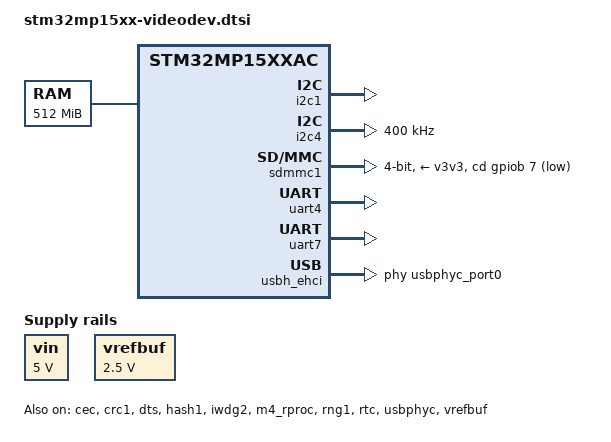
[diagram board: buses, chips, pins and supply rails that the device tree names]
// SPDX-License-Identifier: (GPL-2.0+ OR BSD-3-Clause)
/*
 * Copyright (C) STMicroelectronics 2019 - All Rights Reserved
 * Author: Alexandre Torgue <alexandre.torgue@st.com> for STMicroelectronics.
 */

#include <dt-bindings/gpio/gpio.h>
//
#include "stm32mp15xxac-pinctrl.dtsi"
#include "stm32mp15-pinctrl.dtsi"
//
#include "stm32mp15xx-videodev-pinctrl.dtsi"

/ {
	memory@c0000000 {
		device_type = "memory";
		reg = <0xc0000000 0x20000000>;
	};

	reserved-memory {
		#address-cells = <1>;
		#size-cells = <1>;
		ranges;

		mcuram2: mcuram2@10000000 {
			compatible = "shared-dma-pool";
			reg = <0x10000000 0x40000>;
			no-map;
		};

		vdev0vring0: vdev0vring0@10040000 {
			compatible = "shared-dma-pool";
			reg = <0x10040000 0x1000>;
			no-map;
		};

		vdev0vring1: vdev0vring1@10041000 {
			compatible = "shared-dma-pool";
			reg = <0x10041000 0x1000>;
			no-map;
		};

		vdev0buffer: vdev0buffer@10042000 {
			compatible = "shared-dma-pool";
			reg = <0x10042000 0x4000>;
			no-map;
		};

		mcuram: mcuram@30000000 {
			compatible = "shared-dma-pool";
			reg = <0x30000000 0x40000>;
			no-map;
		};

		retram: retram@38000000 {
			compatible = "shared-dma-pool";
			reg = <0x38000000 0x10000>;
			no-map;
		};

		gpu_reserved: gpu@d4000000 {
			reg = <0xd4000000 0x4000000>;
			no-map;
		};
	};

	vin: vin {
		compatible = "regulator-fixed";
		regulator-name = "vin";
		regulator-min-microvolt = <5000000>;
		regulator-max-microvolt = <5000000>;
		regulator-always-on;
	};
};

&adc {
	pinctrl-names = "default";
	pinctrl-0 = <&adc12_ain_pins_a>, <&adc12_usb_cc_pins_a>;
	vdd-supply = <&vdd>;
	vdda-supply = <&vdd>;
	vref-supply = <&vrefbuf>;
	status = "disabled";
	adc1: adc@0 {
		/*
		 * Type-C USB_PWR_CC1 & USB_PWR_CC2 on in18 & in19.
		 * Use at least 5 * RC time, e.g. 5 * (Rp + Rd) * C:
		 * 5 * (56 + 47kOhms) * 5pF => 2.5us.
		 * Use arbitrary margin here (e.g. 5us).
		 */
		st,min-sample-time-nsecs = <5000>;
		/* AIN connector, USB Type-C CC1 & CC2 */
		st,adc-channels = <0 1 6 13 18 19>;
		status = "okay";
	};
	adc2: adc@100 {
		/* AIN connector, USB Type-C CC1 & CC2 */
		st,adc-channels = <0 1 2 6 18 19>;
		st,min-sample-time-nsecs = <5000>;
		status = "okay";
	};
};

&cec {
	pinctrl-names = "default", "sleep";
	pinctrl-0 = <&cec_pins_b>;
	pinctrl-1 = <&cec_sleep_pins_b>;
	status = "okay";
};

&crc1 {
	status = "okay";
};

&dts {
	status = "okay";
};

&gpu {
	contiguous-area = <&gpu_reserved>;
};

&hash1 {
	status = "okay";
};

&i2c1 {
	pinctrl-names = "default", "sleep";
	pinctrl-0 = <&i2c1_pins_a>;
	pinctrl-1 = <&i2c1_sleep_pins_a>;
	i2c-scl-rising-time-ns = <100>;
	i2c-scl-falling-time-ns = <7>;
	status = "okay";
	/delete-property/dmas;
	/delete-property/dma-names;
};

&i2c2 {
	pinctrl-names = "default", "sleep";
	pinctrl-0 = <&i2c2_pins_a>;
	pinctrl-1 = <&i2c2_sleep_pins_a>;
	i2c-scl-rising-time-ns = <100>;
	i2c-scl-falling-time-ns = <7>;
	status = "disable";
	/delete-property/dmas;
	/delete-property/dma-names;
};

&i2c4 {
	pinctrl-names = "default", "sleep";
	pinctrl-0 = <&i2c4_pins_a>;
	pinctrl-1 = <&i2c4_sleep_pins_a>;
	i2c-scl-rising-time-ns = <185>;
	i2c-scl-falling-time-ns = <20>;
	clock-frequency = <400000>;
//	clock-frequency = <100000>;
	status = "okay";
	/* spare dmas for other usage */
	/delete-property/dmas;
	/delete-property/dma-names;
};

&ipcc {
	status = "okay";
};

&iwdg2 {
	timeout-sec = <32>;
	status = "okay";
};

&m4_rproc {
	memory-region = <&retram>, <&mcuram>, <&mcuram2>, <&vdev0vring0>,
			<&vdev0vring1>, <&vdev0buffer>;
	mboxes = <&ipcc 0>, <&ipcc 1>, <&ipcc 2>, <&ipcc 3>;
	mbox-names = "vq0", "vq1", "shutdown", "detach";
	interrupt-parent = <&exti>;
	interrupts = <68 1>;
	status = "okay";
};

&pwr_regulators {
	vdd-supply = <&vdd>;
	vdd_3v3_usbfs-supply = <&vdd_usb>;
};

&rng1 {
	status = "okay";
};

&rtc {
	status = "okay";
};

//fen+
&sdmmc1 {
	pinctrl-names = "default", "opendrain", "sleep";
	pinctrl-0 = <&sdmmc1_b4_pins_a>;
	pinctrl-1 = <&sdmmc1_b4_od_pins_a>;
	pinctrl-2 = <&sdmmc1_b4_sleep_pins_a>;
	cd-gpios = <&gpiob 7 (GPIO_ACTIVE_LOW | GPIO_PULL_UP)>;
	disable-wp;
	st,neg-edge;
	bus-width = <4>;
	vmmc-supply = <&v3v3>;
	status = "okay";
};

&sdmmc3 {
	pinctrl-names = "default", "opendrain", "sleep";
	pinctrl-0 = <&sdmmc3_b4_pins_a>;
	pinctrl-1 = <&sdmmc3_b4_od_pins_a>;
	pinctrl-2 = <&sdmmc3_b4_sleep_pins_a>;
	broken-cd;
	st,neg-edge;
	bus-width = <4>;
	vmmc-supply = <&v3v3>;
	status = "disabled";
};

&timers1 {
	/* spare dmas for other usage */
	/delete-property/dmas;
	/delete-property/dma-names;
	status = "disabled";
	pwm {
		pinctrl-0 = <&pwm1_pins_a>;
		pinctrl-1 = <&pwm1_sleep_pins_a>;
		pinctrl-names = "default", "sleep";
		status = "okay";
	};
	timer@0 {
		status = "okay";
	};
};

&timers3 {
	/delete-property/dmas;
	/delete-property/dma-names;
	status = "disabled";
	pwm {
		pinctrl-0 = <&pwm3_pins_a>;
		pinctrl-1 = <&pwm3_sleep_pins_a>;
		pinctrl-names = "default", "sleep";
		status = "okay";
	};
	timer@2 {
		status = "okay";
	};
};

&timers4 {
	/delete-property/dmas;
	/delete-property/dma-names;
	status = "disabled";
	pwm {
		pinctrl-0 = <&pwm4_pins_a &pwm4_pins_b>;
		pinctrl-1 = <&pwm4_sleep_pins_a &pwm4_sleep_pins_b>;
		pinctrl-names = "default", "sleep";
		status = "okay";
	};
	timer@3 {
		status = "okay";
	};
};

&timers5 {
	/delete-property/dmas;
	/delete-property/dma-names;
	status = "disabled";
	pwm {
		pinctrl-0 = <&pwm5_pins_a>;
		pinctrl-1 = <&pwm5_sleep_pins_a>;
		pinctrl-names = "default", "sleep";
		status = "okay";
	};
	timer@4 {
		status = "okay";
	};
};

&timers6 {
	/delete-property/dmas;
	/delete-property/dma-names;
	status = "disabled";
	timer@5 {
		status = "okay";
	};
};

&timers12 {
	/delete-property/dmas;
	/delete-property/dma-names;
	status = "disabled";
	pwm {
		pinctrl-0 = <&pwm12_pins_a>;
		pinctrl-1 = <&pwm12_sleep_pins_a>;
		pinctrl-names = "default", "sleep";
		status = "okay";
	};
	timer@11 {
		status = "okay";
	};
};

&uart4 {
	pinctrl-names = "default", "sleep", "idle";
	pinctrl-0 = <&uart4_pins_a>;
	pinctrl-1 = <&uart4_sleep_pins_a>;
	pinctrl-2 = <&uart4_idle_pins_a>;
	status = "okay";
};

&uart7 {
	pinctrl-names = "default", "sleep", "idle";
	pinctrl-0 = <&uart7_pins_d>;
	pinctrl-1 = <&uart7_sleep_pins_d>;
	pinctrl-2 = <&uart7_idle_pins_d>;
	status = "okay";
};

&usbh_ehci {
	phys = <&usbphyc_port0>;
	status = "okay";
};

&usbphyc {
	status = "okay";
};

&usbphyc_port0 {
	phy-supply = <&vdd_usb>;
	st,tune-hs-dc-level = <2>;
	st,enable-fs-rftime-tuning;
	st,enable-hs-rftime-reduction;
	st,trim-hs-current = <15>;
	st,trim-hs-impedance = <1>;
	st,tune-squelch-level = <3>;
	st,tune-hs-rx-offset = <2>;
	st,no-lsfs-sc;
};

&usbphyc_port1 {
	phy-supply = <&vdd_usb>;
	st,tune-hs-dc-level = <2>;
	st,enable-fs-rftime-tuning;
	st,enable-hs-rftime-reduction;
	st,trim-hs-current = <15>;
	st,trim-hs-impedance = <1>;
	st,tune-squelch-level = <3>;
	st,tune-hs-rx-offset = <2>;
	st,no-lsfs-sc;
};

&vrefbuf {
	regulator-min-microvolt = <2500000>;
	regulator-max-microvolt = <2500000>;
	vdda-supply = <&vdd>;
	status = "okay";
};

//12345678901
